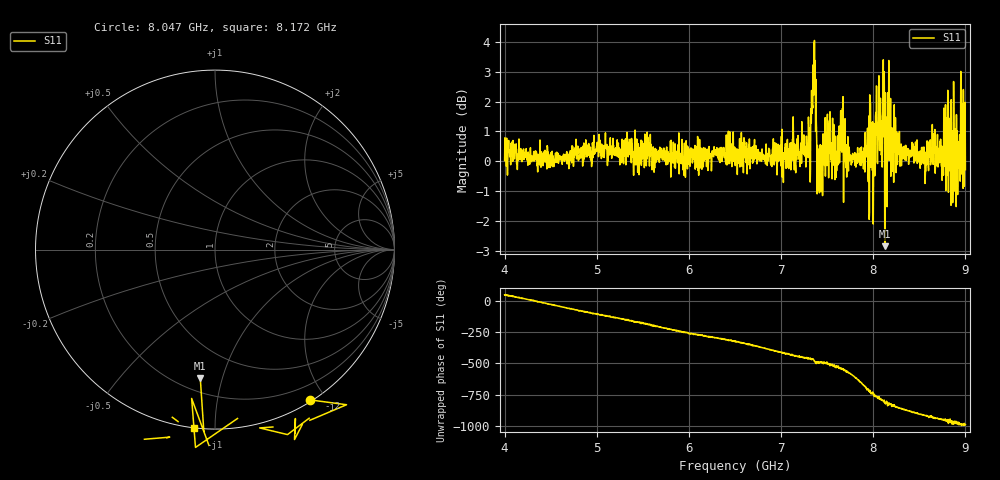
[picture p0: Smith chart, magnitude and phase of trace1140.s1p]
! Created with skrf 1.8.0 (http://scikit-rf.org).
# Hz S RI R 50.0
!freq ReS11 ImS11
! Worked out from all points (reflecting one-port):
!   1601 points, 4 GHz to 9 GHz, reference 50 ohm
!   lowest |S11| = -2.8 dB at 8.125 GHz (marker M1), VSWR 6.16, Z = 14.3 - j42.5 ohm
!   phase of S11 starts at 50 deg and turns -1040 deg over the sweep
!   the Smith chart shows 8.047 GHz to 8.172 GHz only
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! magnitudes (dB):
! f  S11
! 4 GHz  0.0
! 4.625 GHz  -0.1
! 5.25 GHz  -0.1
! 5.875 GHz  0.0
! 6.5 GHz  0.3
! 7.038 GHz  0.1
! 7.125 GHz  0.7
! 7.294 GHz  0.1
! 7.356 GHz  4.0
! 7.412 GHz  -0.8
! 7.509 GHz  0.4
! 7.603 GHz  -0.3
! 7.65 GHz  0.6
! 7.703 GHz  -0.2
! 7.75 GHz  0.1
! 7.934 GHz  0.5
! 7.988 GHz  1.1
! 8 GHz  -2.1
! 8.053 GHz  0.7
! 8.072 GHz  1.2
! 8.097 GHz  -0.2
! 8.125 GHz  -2.8
! 8.375 GHz  0.2
! 8.725 GHz  0.3
! 8.822 GHz  1.3
! 8.903 GHz  1.6
! 8.972 GHz  0.7
! 9 GHz  -0.3
